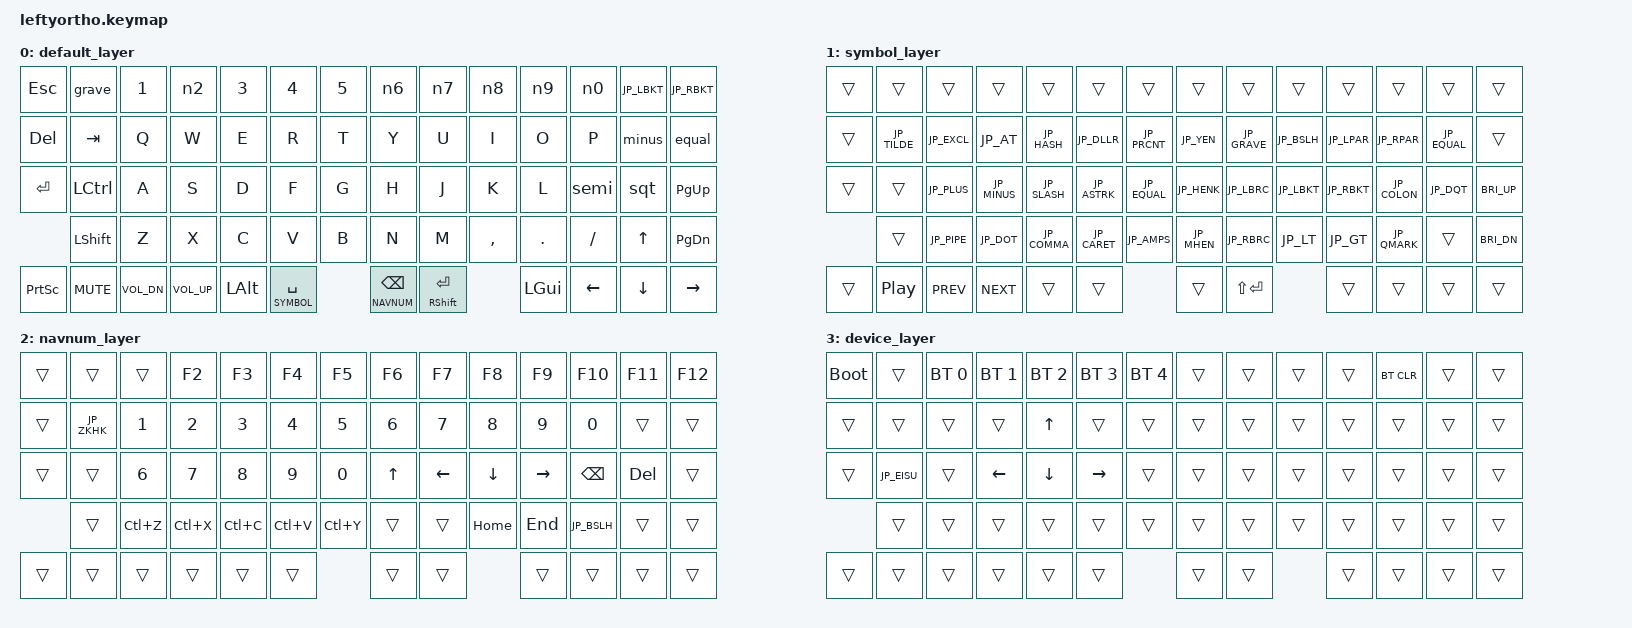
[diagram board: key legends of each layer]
#include <behaviors.dtsi>
#include <dt-bindings/zmk/keys.h>
#include <dt-bindings/zmk/bt.h>
#include <dt-bindings/zmk/outputs.h>

#include "keycode_japanese.h"

#define DEFTULT 0
#define SYMBOL 1
#define NAVNUM 2
#define DEVICE 3

&mt {
    flavor = "hold-preferred"; // default feature
};

&lt {
    flavor = "hold-preferred"; // default feature
//    quick-tap-ms = <200>;
};


/ {

    conditional_layers {
        compatible = "zmk,conditional-layers";
        device_layer {
            if-layers = <SYMBOL NAVNUM>;
            then-layer = <DEVICE>;
        };
    };

    behaviors {
        grave: grave {
            compatible = "zmk,behavior-mod-morph";
            #binding-cells = <0>;
            bindings = <&kp JP_GRAVE>, <&kp JP_TILDE>;
            mods = <(MOD_LSFT|MOD_RSFT)>;
        };
        n2: n2 {
            compatible = "zmk,behavior-mod-morph";
            #binding-cells = <0>;
            bindings = <&kp N2>, <&kp JP_AT>;
            mods = <(MOD_LSFT|MOD_RSFT)>;
        };
        n6: n6 {
            compatible = "zmk,behavior-mod-morph";
            #binding-cells = <0>;
            bindings = <&kp N6>, <&kp JP_CARET>;
            mods = <(MOD_LSFT|MOD_RSFT)>;
        };
        n7: n7 {
            compatible = "zmk,behavior-mod-morph";
            #binding-cells = <0>;
            bindings = <&kp N7>, <&kp JP_AMPS>;
            mods = <(MOD_LSFT|MOD_RSFT)>;
        };
        n8: n8 {
            compatible = "zmk,behavior-mod-morph";
            #binding-cells = <0>;
            bindings = <&kp N8>, <&kp JP_ASTRK>;
            mods = <(MOD_LSFT|MOD_RSFT)>;
        };
        n9: n9 {
            compatible = "zmk,behavior-mod-morph";
            #binding-cells = <0>;
            bindings = <&kp N9>, <&kp JP_LPAR>;
            mods = <(MOD_LSFT|MOD_RSFT)>;
        };
        n0: n0 {
            compatible = "zmk,behavior-mod-morph";
            #binding-cells = <0>;
            bindings = <&kp N0>, <&kp JP_RPAR>;
            mods = <(MOD_LSFT|MOD_RSFT)>;
        };
        minus: minus {
            compatible = "zmk,behavior-mod-morph";
            #binding-cells = <0>;
            bindings = <&kp JP_MINUS>, <&kp JP_UNDER>;
            mods = <(MOD_LSFT|MOD_RSFT)>;
        };
        equal: equal {
            compatible = "zmk,behavior-mod-morph";
            #binding-cells = <0>;
            bindings = <&kp JP_EQUAL>, <&kp JP_PLUS>;
            mods = <(MOD_LSFT|MOD_RSFT)>;
        };
        semi: semi {
            compatible = "zmk,behavior-mod-morph";
            #binding-cells = <0>;
            bindings = <&kp JP_SEMI>, <&kp JP_COLON>;
            mods = <(MOD_LSFT|MOD_RSFT)>;
        };
        sqt: sqt {
            compatible = "zmk,behavior-mod-morph";
            #binding-cells = <0>;
            bindings = <&kp JP_SQT>, <&kp JP_DQT>;
            mods = <(MOD_LSFT|MOD_RSFT)>;
        };
    };
    
    keymap {
        compatible = "zmk,keymap";

        default_layer {
             bindings = <
                &kp ESC     &grave          &kp N1        &n2           &kp N3      &kp N4      &kp N5  &n6                 &n7     &n8         &n9         &n0         &kp JP_LBKT     &kp JP_RBKT
                &kp DEL     &kp TAB         &kp Q         &kp W         &kp E       &kp R       &kp T   &kp Y               &kp U   &kp I       &kp O       &kp P       &minus          &equal
                &kp RET     &kp LCTRL       &kp A         &kp S         &kp D       &kp F       &kp G   &kp H               &kp J   &kp K       &kp L       &semi       &sqt            &kp PG_UP
                            &kp LSHFT       &kp Z         &kp X         &kp C       &kp V       &kp B   &kp N               &kp M   &kp COMMA   &kp DOT     &kp FSLH    &kp UP          &kp PG_DN
                &kp PSCRN   &kp C_MUTE      &kp C_VOL_DN  &kp C_VOL_UP  &kp LALT    &lt SYMBOL SPACE    &lt NAVNUM BSPC     &mt RSHFT RET       &kp LGUI    &kp LEFT    &kp DOWN        &kp RIGHT
            >;
        };
        symbol_layer {
             bindings = <
                &trans  &trans        &trans       &trans       &trans          &trans         &trans          &trans       &trans          &trans          &trans          &trans          &trans          &trans
                &trans  &kp JP_TILDE  &kp JP_EXCL  &kp JP_AT    &kp JP_HASH     &kp JP_DLLR    &kp JP_PRCNT    &kp JP_YEN   &kp JP_GRAVE    &kp JP_BSLH     &kp JP_LPAR     &kp JP_RPAR     &kp JP_EQUAL    &trans
                &trans  &trans        &kp JP_PLUS  &kp JP_MINUS &kp JP_SLASH    &kp JP_ASTRK   &kp JP_EQUAL    &kp JP_HENK  &kp JP_LBRC     &kp JP_LBKT     &kp JP_RBKT     &kp JP_COLON    &kp JP_DQT      &kp C_BRI_UP
                        &trans        &kp JP_PIPE  &kp JP_DOT   &kp JP_COMMA    &kp JP_CARET   &kp JP_AMPS     &kp JP_MHEN  &kp JP_RBRC     &kp JP_LT       &kp JP_GT       &kp JP_QMARK    &trans          &kp C_BRI_DN
                &trans  &kp C_PP      &kp C_PREV   &kp C_NEXT   &trans          &trans                         &trans       &kp LS(RET)                     &trans          &trans          &trans          &trans
            >;
        };
        navnum_layer {
            bindings = <
                &trans  &trans          &trans      &kp F2      &kp F3      &kp F4      &kp F5      &kp F6  &kp F7      &kp F8      &kp F9      &kp F10         &kp F11     &kp F12
                &trans  &kp JP_ZKHK     &kp N1      &kp N2      &kp N3      &kp N4      &kp N5      &kp N6  &kp N7      &kp N8      &kp N9      &kp N0          &trans      &trans
                &trans  &trans          &kp N6      &kp N7      &kp N8      &kp N9      &kp N0      &kp UP  &kp LEFT    &kp DOWN    &kp RIGHT   &kp BSPC        &kp DEL     &trans
                        &trans          &kp LC(Z)   &kp LC(X)   &kp LC(C)   &kp LC(V)   &kp LC(Y)   &trans  &trans      &kp HOME    &kp END     &kp JP_BSLH     &trans      &trans
                &trans  &trans          &trans      &trans      &trans      &trans                  &trans  &trans                  &trans      &trans          &trans      &trans
            >;
        };
        device_layer {
             bindings = <
                &bootloader  &trans       &bt BT_SEL 0   &bt BT_SEL 1    &bt BT_SEL 2    &bt BT_SEL 3    &bt BT_SEL 4    &trans  &trans  &trans  &trans  &bt BT_CLR  &trans  &trans
                &trans       &trans       &trans         &trans          &kp UP          &trans          &trans          &trans  &trans  &trans  &trans  &trans      &trans  &trans
                &trans       &kp JP_EISU  &trans         &kp LEFT        &kp DOWN        &kp RIGHT       &trans          &trans  &trans  &trans  &trans  &trans      &trans  &trans
                             &trans       &trans         &trans          &trans          &trans          &trans          &trans  &trans  &trans  &trans  &trans      &trans  &trans
                &trans       &trans       &trans         &trans          &trans          &trans                          &trans          &trans  &trans  &trans      &trans  &trans
            >;
        };
    };
};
